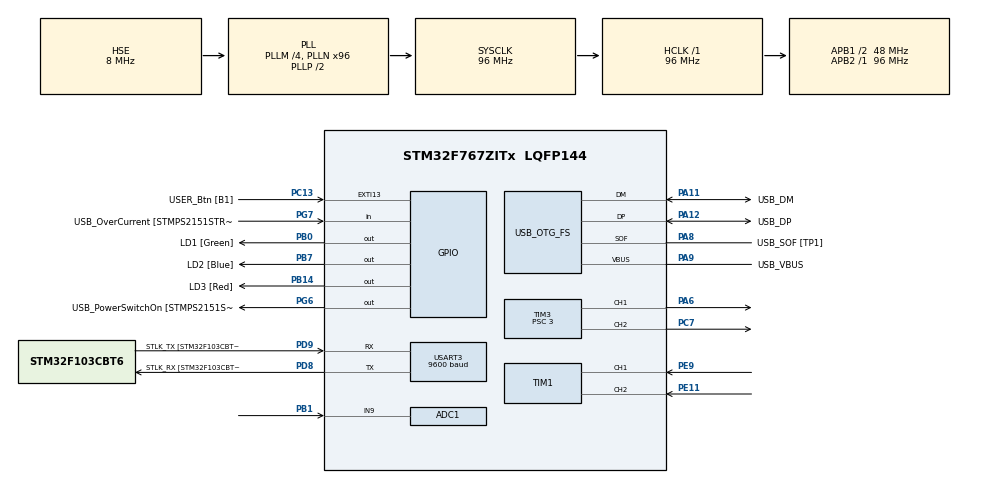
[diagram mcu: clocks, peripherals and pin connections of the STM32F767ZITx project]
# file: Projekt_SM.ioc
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ADC1.Channel-0\#ChannelRegularConversion=ADC_CHANNEL_9
ADC1.NbrOfConversionFlag=1
ADC1.Rank-0\#ChannelRegularConversion=1
ADC1.SamplingTime-0\#ChannelRegularConversion=ADC_SAMPLETIME_3CYCLES
ADC1.master=1
ARM.CMSIS.5.7.0.CMSISJjCORE=true
ARM.CMSIS.5.7.0.CMSISJjDSP=Library
Mcu.Family=STM32F7
Mcu.Name=STM32F767ZITx
Mcu.Package=LQFP144
NVIC.ADC_IRQn=true\:0\:0\:false\:false\:true\:true\:true
NVIC.PriorityGroup=NVIC_PRIORITYGROUP_4
NVIC.TIM1_UP_TIM10_IRQn=true\:0\:0\:false\:false\:true\:true\:true
NVIC.TIM3_IRQn=true\:0\:0\:false\:false\:true\:true\:true
NVIC.TIM4_IRQn=true\:0\:0\:false\:false\:true\:true\:true
NVIC.TIM6_DAC_IRQn=true\:0\:0\:false\:false\:true\:true\:true
NVIC.TIM7_IRQn=true\:0\:0\:false\:false\:true\:true\:true
NVIC.USART3_IRQn=true\:0\:0\:false\:false\:true\:true\:true
PA1.GPIO_Label=RMII_REF_CLK [LAN8742A-CZ-TR_REFCLK0]
PA1.Signal=ETH_REF_CLK
PA10.GPIO_Label=USB_ID
PA10.Signal=USB_OTG_FS_ID
PA11.GPIO_Label=USB_DM
PA11.Mode=Device_Only
PA11.Signal=USB_OTG_FS_DM
PA12.GPIO_Label=USB_DP
PA12.Mode=Device_Only
PA12.Signal=USB_OTG_FS_DP
PA13.GPIO_Label=TMS
PA13.Mode=Serial_Wire
PA13.Signal=SYS_JTMS-SWDIO
PA14.GPIO_Label=TCK
PA14.Mode=Serial_Wire
PA14.Signal=SYS_JTCK-SWCLK
PA2.GPIO_Label=RMII_MDIO [LAN8742A-CZ-TR_MDIO]
PA2.Signal=ETH_MDIO
PA6.Signal=S_TIM3_CH1
PA7.GPIO_Label=RMII_CRS_DV [LAN8742A-CZ-TR_CRS_DV]
PA7.Signal=ETH_CRS_DV
PA8.GPIO_Label=USB_SOF [TP1]
PA8.Mode=Activate_SOF_FS
PA8.Signal=USB_OTG_FS_SOF
PA9.GPIO_Label=USB_VBUS
PA9.Mode=Activate_VBUS
PA9.Signal=USB_OTG_FS_VBUS
PB0.GPIO_Label=LD1 [Green]
PB0.Signal=GPIO_Output
PB1.Signal=ADCx_IN9
PB13.GPIO_Label=RMII_TXD1 [LAN8742A-CZ-TR_TXD1]
PB13.Signal=ETH_TXD1
PB14.GPIO_Label=LD3 [Red]
PB14.Signal=GPIO_Output
PB3.GPIO_Label=SWO
PB3.Signal=SYS_JTDO-SWO
PB7.GPIO_Label=LD2 [Blue]
PB7.Signal=GPIO_Output
PC1.GPIO_Label=RMII_MDC [LAN8742A-CZ-TR_MDC]
PC1.Signal=ETH_MDC
PC13.GPIO_Label=USER_Btn [B1]
PC13.Signal=GPXTI13
PC14/OSC32_IN.Mode=LSE-External-Oscillator
PC14/OSC32_IN.Signal=RCC_OSC32_IN
PC15/OSC32_OUT.Mode=LSE-External-Oscillator
PC15/OSC32_OUT.Signal=RCC_OSC32_OUT
PC4.GPIO_Label=RMII_RXD0 [LAN8742A-CZ-TR_RXD0]
PC4.Signal=ETH_RXD0
PC5.GPIO_Label=RMII_RXD1 [LAN8742A-CZ-TR_RXD1]
PC5.Signal=ETH_RXD1
PC7.Signal=S_TIM3_CH2
PD8.GPIO_Label=STLK_RX [STM32F103CBT6_PA3]
PD8.Mode=Asynchronous
PD8.Signal=USART3_TX
PD9.GPIO_Label=STLK_TX [STM32F103CBT6_PA2]
PD9.Mode=Asynchronous
PD9.Signal=USART3_RX
PE11.Signal=S_TIM1_CH2
PE9.Signal=S_TIM1_CH1
PG11.GPIO_Label=RMII_TX_EN [LAN8742A-CZ-TR_TXEN]
PG11.Signal=ETH_TX_EN
PG13.GPIO_Label=RMII_TXD0 [LAN8742A-CZ-TR_TXD0]
PG13.Signal=ETH_TXD0
PG6.GPIO_Label=USB_PowerSwitchOn [STMPS2151STR_EN]
PG6.Signal=GPIO_Output
PG7.GPIO_Label=USB_OverCurrent [STMPS2151STR_FAULT]
PG7.Signal=GPIO_Input
PH0/OSC_IN.GPIO_Label=MCO [STM32F103CBT6_PA8]
PH0/OSC_IN.Mode=HSE-External-Clock-Source
PH0/OSC_IN.Signal=RCC_OSC_IN
PH1/OSC_OUT.Mode=HSE-External-Clock-Source
PH1/OSC_OUT.Signal=RCC_OSC_OUT
ProjectManager.HeapSize=0x200
ProjectManager.StackSize=0x400
ProjectManager.TargetToolchain=STM32CubeIDE
RCC.48MHZClocksFreq_Value=24000000
RCC.AHBFreq_Value=96000000
RCC.APB1CLKDivider=RCC_HCLK_DIV2
RCC.APB1Freq_Value=48000000
RCC.APB1TimFreq_Value=96000000
RCC.APB2Freq_Value=96000000
RCC.APB2TimFreq_Value=96000000
RCC.CortexFreq_Value=96000000
RCC.HCLKFreq_Value=96000000
RCC.HSE_VALUE=8000000
RCC.HSI_VALUE=16000000
RCC.PLLM=4
RCC.PLLMUL=RCC_PLL_MUL9
RCC.PLLN=96
RCC.PLLQ=4
RCC.PRESCALERUSB=RCC_USBCLKSOURCE_PLL_DIV1_5
RCC.SYSCLKFreq_VALUE=96000000
RCC.SYSCLKSource=RCC_SYSCLKSOURCE_PLLCLK
RCC.SYSCLKSourceVirtual=RCC_SYSCLKSOURCE_PLLCLK
RCC.USBFreq_Value=48000000
RCC.VCOOutputFreq_Value=192000000
SH.ADCx_IN9.0=ADC1_IN9,IN9
SH.S_TIM1_CH1.0=TIM1_CH1,Encoder_Interface
SH.S_TIM1_CH2.0=TIM1_CH2,Encoder_Interface
SH.S_TIM3_CH1.0=TIM3_CH1,PWM Generation1 CH1
SH.S_TIM3_CH2.0=TIM3_CH2,PWM Generation2 CH2
TIM1.EncoderMode=TIM_ENCODERMODE_TI12
TIM1.IC1Filter=15
TIM1.IC2Filter=15
TIM3.Channel-PWM\ Generation1\ CH1=TIM_CHANNEL_1
TIM3.Channel-PWM\ Generation2\ CH2=TIM_CHANNEL_2
TIM3.OCMode_PWM-PWM\ Generation2\ CH2=TIM_OCMODE_PWM1
TIM3.Period=999
TIM3.Prescaler=3
TIM4.Period=9999
TIM4.Prescaler=959
TIM6.AutoReloadPreload=TIM_AUTORELOAD_PRELOAD_DISABLE
TIM6.Period=9999
TIM6.Prescaler=959
TIM7.Period=9999
TIM7.Prescaler=9599
USART3.BaudRate=9600
USART3.VirtualMode-Asynchronous=VM_ASYNC
USB_OTG_FS.VirtualMode=Device_Only
VP_ARM.CMSIS_VS_CMSISJjCORE_5.4.0_5.7.0.Mode=CMSISJjCORE
VP_ARM.CMSIS_VS_CMSISJjDSP_1.8.0_5.7.0.Mode=CMSISJjDSP
VP_TIM3_VS_ClockSourceINT.Mode=Internal
VP_TIM4_VS_ClockSourceINT.Mode=Internal
VP_TIM6_VS_ClockSourceINT.Mode=Enable_Timer
VP_TIM7_VS_ClockSourceINT.Mode=Enable_Timer
board=NUCLEO-F767ZI

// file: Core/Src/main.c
/* USER CODE BEGIN Header */
/**
  ******************************************************************************
  * @file           : main.c
  * @brief          : Main program body
  ******************************************************************************
  * @attention
  *
  * <h2><center>&copy; Copyright (c) 2022 STMicroelectronics.
  * All rights reserved.</center></h2>
  *
  * This software component is licensed by ST under BSD 3-Clause license,
  * the "License"; You may not use this file except in compliance with the
  * License. You may obtain a copy of the License at:
  *                        opensource.org/licenses/BSD-3-Clause
  *
  ******************************************************************************
  */
/* USER CODE END Header */
#include "main.h"
#include "adc.h"
#include "tim.h"
#include "usart.h"
#include "usb_otg.h"
#include "gpio.h"

/* USER CODE BEGIN Includes */
#include "stdio.h"
#include "string.h"
#include "stdlib.h"
#include "math.h"
#include "arm_math.h"

/* USER CODE END Includes */

/* USER CODE BEGIN PD */

// SPEED CALCULATION
#define ENCODER_RESOLUTION 224.4
#define TIMER_CONF_BOTH_EDGE_T1T2 4
#define	TIMER_FREQENCY 10
#define	MINUTE_IN_SECOND 60

// PID CONTROLER CONFIG
#define PID_KP 1.2
#define PID_KI 0.1
#define PID_KD 0.2

// FIR CONFIG
#define FIR1_NumTaps 58
#define FIR2_NumTaps 6

/* USER CODE END PD */

/* USER CODE BEGIN PV */

// PWM CONFIG // CounterPeriod = 1000
volatile uint16_t duty_A = 0;
volatile uint16_t duty_B = 0;

// UART CONFIG
char user_val[4]; // [X X X R/L]
const char error_1[] = "WRONG DIR!\r\n";
const char error_2[] = "WRONG SPEED!\r\n";
const char error_3[] = "UART ERROR\r\n";

const char uart_state[] = "UART";
const char adc_state[] = "ADC1";

volatile float32_t user_speed = 0;
volatile uint8_t flag = 0;
volatile uint8_t state = 0; // default: 0 - UART, 1 - ADC

uint16_t data_msg[64];
int length;

// ADC CONFIG
const uint32_t ADC_REG_MAX = 0xfff; //12-bits
const float32_t ADC_VOLTAGE_MAX = 3.3; //[V]
volatile uint32_t ADC_measurement = 0;
volatile float32_t ADC_voltage = 0;
volatile float32_t Filtered_voltage = 0;

// ENCODER CONFIG
uint32_t counter= 0;
int16_t count = 0;

// SPEED CALCULATION
const float32_t max_speed = 260;
const float32_t min_speed = 30;

float32_t speed = 0;
float32_t reference_speed = 0;
float32_t speed_filtered = 0;

// PID CONTROLER CONFIG
arm_pid_instance_f32 PID; // controller instance
float32_t PID_Output = 0;
float32_t PID_Error = 0;

// FIR CONFIG
arm_fir_instance_f32 ADC_Fir;
arm_fir_instance_f32 Speed_Fir;

float32_t fir_b_1[FIR1_NumTaps]={
		#include "../../MATLAB/fir_b.csv"
};

float32_t fir_x_1[FIR1_NumTaps]={
		#include "../../MATLAB/fir_state_init.csv"
};

float32_t fir_b_2[FIR2_NumTaps]={
		#include "../../MATLAB/fir_b_1.csv"
};

float32_t fir_x_2[FIR2_NumTaps]={
		#include "../../MATLAB/fir_state_init_1.csv"
};

/* USER CODE END PV */

void SystemClock_Config(void);
/* USER CODE BEGIN PFP */
void SpeedCalculation(int16_t count){
	speed = (float32_t)((count * TIMER_FREQENCY * MINUTE_IN_SECOND)/
			(ENCODER_RESOLUTION*TIMER_CONF_BOTH_EDGE_T1T2));

	arm_fir_f32(&Speed_Fir, &speed, &speed_filtered, 1);
}

void SetDutyPID(arm_pid_instance_f32* pid, float32_t y_ref, float32_t y){

	PID_Error = y_ref - y; //Error calc
	PID_Output = arm_pid_f32(pid, PID_Error); // Output PID signal

	if(PID_Output > 0){
		// SATURATION
		if (PID_Output > 1000){
			PID_Output = 1000;
		}

		duty_A = (uint16_t)(abs(PID_Output));
		duty_B = 0;
		__HAL_TIM_SET_COMPARE(&htim3, TIM_CHANNEL_1, duty_A); // PA6
		__HAL_TIM_SET_COMPARE(&htim3, TIM_CHANNEL_2, duty_B); // PC7
	}
	else{
		// SATURATION
		if (PID_Output < -1000){
			PID_Output = -1000;
		}

		duty_A = 0;
		duty_B = (uint16_t)(abs(PID_Output));;
		__HAL_TIM_SET_COMPARE(&htim3, TIM_CHANNEL_1, duty_A); // PA6
		__HAL_TIM_SET_COMPARE(&htim3, TIM_CHANNEL_2, duty_B); // PC7
	}

}

/* USER CODE END PFP */

int main(void)
{
  /* USER CODE BEGIN 1 */

	// PID CONTROLER INIT
	PID.Kp = PID_KP;
	PID.Ki = PID_KI;
	PID.Kd = PID_KD;

	arm_pid_init_f32(&PID, 1);

	// FIR INIT
	arm_fir_init_f32(&ADC_Fir, FIR1_NumTaps, fir_b_1, fir_x_1, 1);
	arm_fir_init_f32(&Speed_Fir, FIR2_NumTaps, fir_b_2, fir_x_2, 1);

  /* USER CODE END 1 */

  /* MCU Configuration--------------------------------------------------------*/

  /* Reset of all peripherals, Initializes the Flash interface and the Systick. */
  HAL_Init();

  /* Configure the system clock */
  SystemClock_Config();

  /* Initialize all configured peripherals */
  MX_GPIO_Init();
  MX_USART3_UART_Init();
  MX_USB_OTG_FS_PCD_Init();
  MX_TIM3_Init();
  MX_TIM1_Init();
  MX_TIM6_Init();
  MX_TIM7_Init();
  MX_ADC1_Init();
  MX_TIM4_Init();
  /* USER CODE BEGIN 2 */

  // PWM CONFIG // CounterPeriod = 1000
  HAL_TIM_PWM_Start(&htim3, TIM_CHANNEL_1);
  HAL_TIM_PWM_Start(&htim3, TIM_CHANNEL_2);
  __HAL_TIM_SET_COMPARE(&htim3, TIM_CHANNEL_1, duty_A); // PA6
  __HAL_TIM_SET_COMPARE(&htim3, TIM_CHANNEL_2, duty_B); // PC7

  // UART CONFIG
  HAL_UART_Receive_IT(&huart3, user_val, 4);

  // ENCODER CONFIG
  HAL_TIM_Encoder_Start(&htim1, TIM_CHANNEL_ALL);

  // MAIN TIMER CONFIG
  HAL_TIM_Base_Start_IT(&htim6);

  // DATA TRANSMIT TIMER CONFIG
  HAL_TIM_Base_Start_IT(&htim7);
  HAL_TIM_Base_Start_IT(&htim4);

  /* USER CODE END 2 */

  /* Infinite loop */
  while (1)
  {

  }
}

void SystemClock_Config(void)
{
  RCC_OscInitTypeDef RCC_OscInitStruct = {0};
  RCC_ClkInitTypeDef RCC_ClkInitStruct = {0};
  RCC_PeriphCLKInitTypeDef PeriphClkInitStruct = {0};

  /** Configure LSE Drive Capability
  */
  HAL_PWR_EnableBkUpAccess();
  /** Configure the main internal regulator output voltage
  */
  __HAL_RCC_PWR_CLK_ENABLE();
  __HAL_PWR_VOLTAGESCALING_CONFIG(PWR_REGULATOR_VOLTAGE_SCALE3);
  /** Initializes the RCC Oscillators according to the specified parameters
  * in the RCC_OscInitTypeDef structure.
  */
  RCC_OscInitStruct.OscillatorType = RCC_OSCILLATORTYPE_HSE;
  RCC_OscInitStruct.HSEState = RCC_HSE_BYPASS;
  RCC_OscInitStruct.PLL.PLLState = RCC_PLL_ON;
  RCC_OscInitStruct.PLL.PLLSource = RCC_PLLSOURCE_HSE;
  RCC_OscInitStruct.PLL.PLLM = 4;
  RCC_OscInitStruct.PLL.PLLN = 96;
  RCC_OscInitStruct.PLL.PLLP = RCC_PLLP_DIV2;
  RCC_OscInitStruct.PLL.PLLQ = 4;
  RCC_OscInitStruct.PLL.PLLR = 2;
  if (HAL_RCC_OscConfig(&RCC_OscInitStruct) != HAL_OK)
  {
    Error_Handler();
  }
  /** Activate the Over-Drive mode
  */
  if (HAL_PWREx_EnableOverDrive() != HAL_OK)
  {
    Error_Handler();
  }
  /** Initializes the CPU, AHB and APB buses clocks
  */
  RCC_ClkInitStruct.ClockType = RCC_CLOCKTYPE_HCLK|RCC_CLOCKTYPE_SYSCLK
                              |RCC_CLOCKTYPE_PCLK1|RCC_CLOCKTYPE_PCLK2;
  RCC_ClkInitStruct.SYSCLKSource = RCC_SYSCLKSOURCE_PLLCLK;
  RCC_ClkInitStruct.AHBCLKDivider = RCC_SYSCLK_DIV1;
  RCC_ClkInitStruct.APB1CLKDivider = RCC_HCLK_DIV2;
  RCC_ClkInitStruct.APB2CLKDivider = RCC_HCLK_DIV1;

  if (HAL_RCC_ClockConfig(&RCC_ClkInitStruct, FLASH_LATENCY_3) != HAL_OK)
  {
    Error_Handler();
  }
  PeriphClkInitStruct.PeriphClockSelection = RCC_PERIPHCLK_USART3|RCC_PERIPHCLK_CLK48;
  PeriphClkInitStruct.Usart3ClockSelection = RCC_USART3CLKSOURCE_PCLK1;
  PeriphClkInitStruct.Clk48ClockSelection = RCC_CLK48SOURCE_PLL;
  if (HAL_RCCEx_PeriphCLKConfig(&PeriphClkInitStruct) != HAL_OK)
  {
    Error_Handler();
  }
}

/* USER CODE BEGIN 4 */

// UART CONFIG
void HAL_UART_RxCpltCallback(UART_HandleTypeDef *huart)
{
	if(huart == &huart3){

		// STATE READ
		if(strncmp(user_val, uart_state, 4) == 0){
			state = 0;
		}

		else if(strncmp(user_val, adc_state, 4) == 0){
			state = 1;
		}

		else{
			// USER SPEED READ
			if(state == 0){
				user_speed = (float32_t)(atof(user_val));
				if(user_speed >= min_speed && user_speed <= max_speed){
					flag = 1;
					if(user_val[3] == 'R' && flag == 1){
						reference_speed = user_speed;
					}
					else if(user_val[3] == 'L' && flag == 1){
						reference_speed = -(user_speed);
					}
					else{
						flag = 0;
						HAL_UART_Transmit(&huart3, error_1, strlen(error_1), 100);
					}
				}
				else{
					flag = 0;
					HAL_UART_Transmit(&huart3, error_2, strlen(error_2), 100);
				}
			}
			else{
				HAL_UART_Transmit(&huart3, error_3, strlen(error_3), 100);
			}
		}
	}

	HAL_UART_Receive_IT(&huart3, user_val, 4);
}

// ADC CONFIG
void HAL_ADC_ConvCpltCallback(ADC_HandleTypeDef* hadc)
{
	if(hadc == &hadc1){
		ADC_measurement = HAL_ADC_GetValue(&hadc1);
		ADC_voltage = ((float32_t)ADC_measurement / (float32_t)ADC_REG_MAX) * ADC_VOLTAGE_MAX;

		// FILTRATION
		arm_fir_f32(&ADC_Fir, &ADC_voltage, &Filtered_voltage, 1);

		if(state == 1){
			reference_speed = (uint16_t)((ADC_voltage * max_speed)/ADC_VOLTAGE_MAX);

			if(reference_speed < min_speed){
				reference_speed = min_speed;
			}
			else if(reference_speed > max_speed){
				reference_speed = max_speed;
			}
		}

	}
}

// TIMER CONFIG
void HAL_TIM_PeriodElapsedCallback(TIM_HandleTypeDef *htim)
{
	// MAIN TIMER CONFIG
	if(htim -> Instance == TIM6)
	{
		HAL_ADC_Start_IT(&hadc1);

		// SPEED CALCULATION
		counter = __HAL_TIM_GET_COUNTER(&htim1);
		count = (int16_t)counter;
		__HAL_TIM_SET_COUNTER(&htim1, 0);
		SpeedCalculation(count);

		// SPEED REGULATION
		SetDutyPID(&PID, reference_speed, speed_filtered);
	}

	// DATA TRANSMIT TIMER CONFIG
	if(htim -> Instance == TIM7 && state == 0)
	{
		length = sprintf(data_msg, " POM: %.3f  , REF: %.3f  , STER: %.3f \r\n", (float)speed_filtered,  (float)reference_speed, (float)PID_Output);
		HAL_UART_Transmit(&huart3, data_msg, length, 0xffff);
	}

	if(htim -> Instance == TIM4 && state == 1)
		{
			length = sprintf(data_msg, " POM: %.3f  , REF: %.3f  , STER: %.3f \r\n", (float)speed_filtered,  (float)reference_speed, (float)PID_Output);
			HAL_UART_Transmit(&huart3, data_msg, length, 0xffff);
		}
}

/* USER CODE END 4 */

void Error_Handler(void)
{
  __disable_irq();
  while (1)
  {
  }
}

/************************ (C) COPYRIGHT STMicroelectronics *****END OF FILE****/
